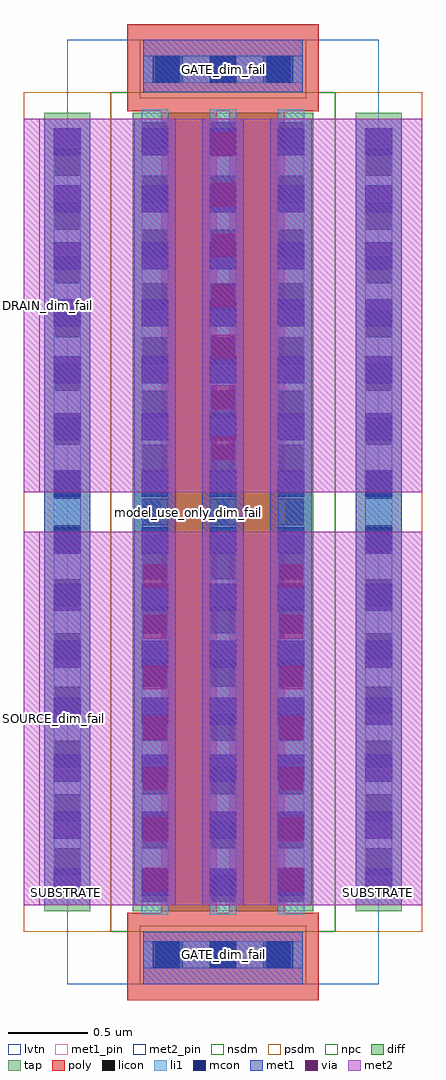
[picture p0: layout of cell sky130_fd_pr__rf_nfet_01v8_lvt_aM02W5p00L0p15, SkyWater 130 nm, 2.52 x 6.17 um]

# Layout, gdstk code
import gdstk
lib = gdstk.Library(unit=1e-6, precision=1e-09)
def R(c, l, rs):  # rectangles x0, y0, x1, y1
    for r in rs: c.add(gdstk.rectangle(r[:2], r[2:], *l))
def A(c, l, x, y, w, h, nx, ny, dx, dy):  # array of equal rectangles
    R(c, l, [(x+i*dx, y+j*dy, x+i*dx+w, y+j*dy+h) for i in range(nx) for j in range(ny)])
def P(c, l, *ps):  # polygons
    for p in ps: c.add(gdstk.Polygon(p, *l))
diff = (65, 20)
tap = (65, 44)
poly = (66, 20)
licon = (66, 44)
li1 = (67, 20)
mcon = (67, 44)
met1_pin = (68, 16)
met1 = (68, 20)
via = (68, 44)
met2_pin = (69, 16)
met2 = (69, 20)
nsdm = (93, 44)
psdm = (94, 20)
npc = (95, 20)
lvtn = (125, 44)

sky130_fd_pr__rf_nfet_01 = lib.new_cell('sky130_fd_pr__rf_nfet_01v8_lvt_aM02W5p00L0p15')
R(sky130_fd_pr__rf_nfet_01, diff, [(0.74,0.51,1.88,5.56)])
R(sky130_fd_pr__rf_nfet_01, tap, [(0.18,0.51,0.47,5.56), (2.15,0.51,2.44,5.56)])
P(sky130_fd_pr__rf_nfet_01, poly, [(0.705,-0.05),(0.705,0.5),(0.92,0.5),(0.92,5.57),(1.27,5.57),(1.27,0.5),(1.35,0.5),(1.35,5.57),(0.705,5.57),(0.705,6.12),(1.915,6.12),(1.915,5.57),(1.7,5.57),(1.7,0.5),(1.915,0.5),(1.915,-0.05)])
A(sky130_fd_pr__rf_nfet_01, licon, 0.885, 0.15, 0.17, 0.17, 3, 2, 0.34, 5.6)
A(sky130_fd_pr__rf_nfet_01, licon, 0.795, 0.57, 0.17, 0.17, 3, 15, 0.43, 0.34)
A(sky130_fd_pr__rf_nfet_01, licon, 0.24, 0.74, 0.17, 0.17, 1, 14, 0, 0.34)
A(sky130_fd_pr__rf_nfet_01, licon, 2.21, 0.74, 0.17, 0.17, 1, 14, 0, 0.34)
A(sky130_fd_pr__rf_nfet_01, li1, 0.795, 0.49, 0.17, 5.09, 3, 1, 0.43, 0)
A(sky130_fd_pr__rf_nfet_01, li1, 0.795, 1.69, 0.17, 2.69, 3, 1, 0.43, 0)
R(sky130_fd_pr__rf_nfet_01, li1, [(0.805,0.15,1.815,0.32), (0.865,0.15,1.755,0.32), (0.24,0.61,0.41,5.46), (2.21,0.61,2.38,5.46), (0.24,0.66,0.41,5.41), (2.21,0.66,2.38,5.41), (0.24,1.68,0.41,4.39), (2.21,1.68,2.38,4.39), (0.805,5.75,1.815,5.92), (0.865,5.75,1.755,5.92)])
A(sky130_fd_pr__rf_nfet_01, mcon, 0.865, 0.15, 0.17, 0.17, 3, 2, 0.36, 5.6)
A(sky130_fd_pr__rf_nfet_01, mcon, 0.24, 0.61, 0.17, 0.17, 1, 14, 0, 0.36)
A(sky130_fd_pr__rf_nfet_01, mcon, 0.795, 0.61, 0.17, 0.17, 3, 14, 0.43, 0.36)
A(sky130_fd_pr__rf_nfet_01, mcon, 2.21, 0.61, 0.17, 0.17, 1, 14, 0, 0.36)
R(sky130_fd_pr__rf_nfet_01, met1_pin, [(0.805,0.05,1.815,0.38), (0.18,0.55,0.47,0.63), (2.15,0.55,2.44,0.63), (0.805,5.69,1.815,6.02)])
A(sky130_fd_pr__rf_nfet_01, met1, 0.75, 0.55, 0.26, 4.97, 3, 1, 0.43, 0)
R(sky130_fd_pr__rf_nfet_01, met1, [(0.805,0.05,1.815,0.38), (0.18,0.55,0.47,5.52), (0.75,0.55,1.01,2.79), (1.61,0.55,1.87,2.79), (2.15,0.55,2.44,5.52), (1.18,3.28,1.44,5.52), (0.805,5.69,1.815,6.02)])
A(sky130_fd_pr__rf_nfet_01, via, 0.805, 0.635, 0.15, 0.15, 1, 7, 0, 0.32)
A(sky130_fd_pr__rf_nfet_01, via, 1.665, 0.635, 0.15, 0.15, 1, 7, 0, 0.32)
A(sky130_fd_pr__rf_nfet_01, via, 1.235, 3.365, 0.15, 0.15, 1, 7, 0, 0.32)
R(sky130_fd_pr__rf_nfet_01, met2_pin, [(0.05,0.55,0.15,2.91), (0.05,3.16,0.15,5.52)])
R(sky130_fd_pr__rf_nfet_01, met2, [(0.05,0.55,2.57,2.91), (0.75,0.55,1.01,2.79), (1.61,0.55,1.87,2.79), (0.05,3.16,2.57,5.52), (1.18,3.28,1.44,5.52)])
R(sky130_fd_pr__rf_nfet_01, nsdm, [(0.6,0.38,2.02,5.69)])
R(sky130_fd_pr__rf_nfet_01, psdm, [(0.05,0.38,0.6,5.69), (2.02,0.38,2.57,5.69)])
R(sky130_fd_pr__rf_nfet_01, npc, [(0.785,0.05,1.835,0.42), (0.785,5.65,1.835,6.02)])
R(sky130_fd_pr__rf_nfet_01, lvtn, [(0.325,0.05,2.295,6.02)])
sky130_fd_pr__rf_nfet_01.add(gdstk.Label('model_use_only_dim_fail', (1.095,3.035), layer=66, texttype=83))
sky130_fd_pr__rf_nfet_01.add(gdstk.Label('model_use_only_dim_fail', (1.525,3.035), layer=66, texttype=83))
sky130_fd_pr__rf_nfet_01.add(gdstk.Label('DRAIN_dim_fail', (0.15,4.34), layer=69, texttype=5))
sky130_fd_pr__rf_nfet_01.add(gdstk.Label('SOURCE_dim_fail', (0.15,1.73), layer=69, texttype=5))
sky130_fd_pr__rf_nfet_01.add(gdstk.Label('GATE_dim_fail', (1.31,5.835), layer=68, texttype=5))
sky130_fd_pr__rf_nfet_01.add(gdstk.Label('GATE_dim_fail', (1.31,0.235), layer=68, texttype=5))
sky130_fd_pr__rf_nfet_01.add(gdstk.Label('SUBSTRATE', (2.29,0.63), layer=68, texttype=5))
sky130_fd_pr__rf_nfet_01.add(gdstk.Label('SUBSTRATE', (0.32,0.63), layer=68, texttype=5))

lib.write_gds('sky130_fd_pr__rf_nfet_01v8_lvt_aM02W5p00L0p15.gds')
